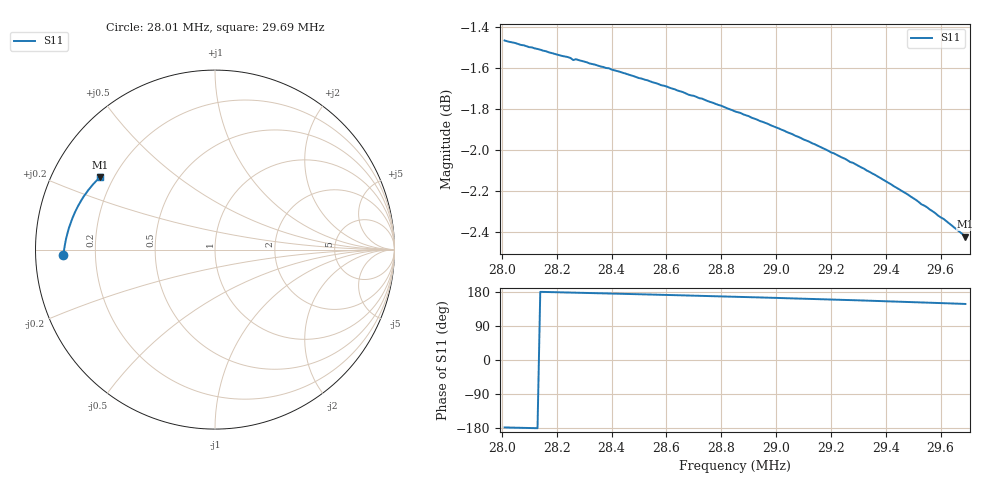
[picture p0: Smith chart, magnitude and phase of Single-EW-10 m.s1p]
# HZ S RI R 50
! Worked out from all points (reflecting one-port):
!   169 points, 28.01 MHz to 29.69 MHz, reference 50 ohm
!   lowest |S11| = -2.4 dB at 29.69 MHz (marker M1), VSWR 7.22, Z = 7.48 + j14.1 ohm
!   phase of S11 starts at -178 deg and turns -34 deg over the sweep
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2.801e7  -0.8441 -0.0301
2.811004e7  -0.8413 -0.00544
2.822008e7  -0.8371 0.0219
2.82501e7  -0.8359 0.0296
2.82601e7  -0.8348 0.0322
2.82701e7  -0.8351 0.0346
2.830012e7  -0.8337 0.0422
2.839015e7  -0.8291 0.065
2.843017e7  -0.8266 0.075
2.853021e7  -0.8199 0.1008
2.864025e7  -0.8111 0.1292
2.873029e7  -0.8032 0.1528
2.880032e7  -0.7962 0.171
2.885034e7  -0.7906 0.1839
2.890036e7  -0.7853 0.197
2.897038e7  -0.7768 0.2154
2.906042e7  -0.7649 0.2391
2.916046e7  -0.7503 0.2655
2.92505e7  -0.7358 0.2892
2.92705e7  -0.7321 0.2944
2.932052e7  -0.7235 0.3076
2.937054e7  -0.7142 0.3205
2.948059e7  -0.6917 0.3492
2.955062e7  -0.6761 0.3672
2.960064e7  -0.664 0.3799
2.961064e7  -0.662 0.3822
2.963065e7  -0.6567 0.3876
2.969067e7  -0.641 0.4024
